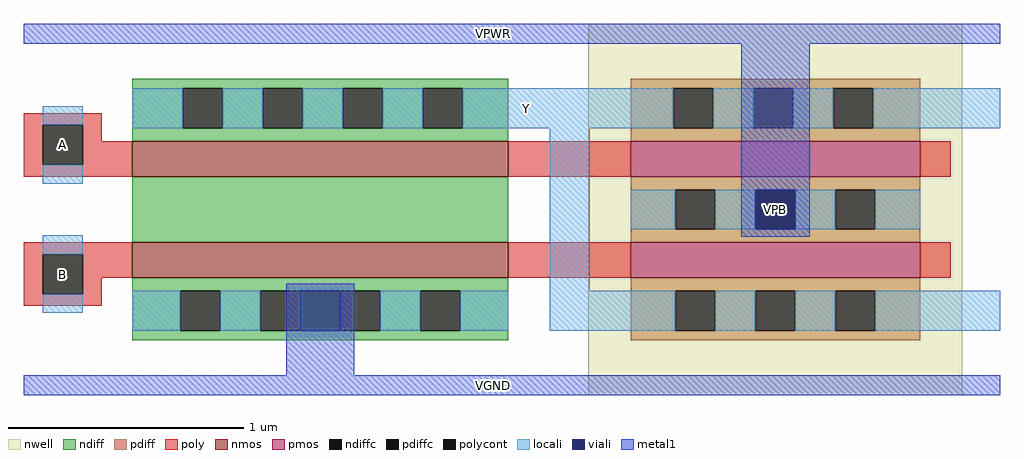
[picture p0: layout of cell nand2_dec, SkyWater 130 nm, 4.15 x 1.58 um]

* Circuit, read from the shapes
.subckt nand2_dec A B VGND VPB VPWR Y
XM1 n1 B VGND VSUBS sky130_fd_pr__nfet_01v8 w=1.6 l=0.15
XM2 Y A n1 VSUBS sky130_fd_pr__nfet_01v8 w=1.6 l=0.15
XM3 VPWR B Y VPB sky130_fd_pr__pfet_01v8 w=1.23 l=0.15
XM4 Y A VPWR VPB sky130_fd_pr__pfet_01v8 w=1.23 l=0.15
.ends

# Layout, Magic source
magic
tech sky130A
magscale 1 2
<< nwell >>
rect 228 0 546 316
<< nmos >>
rect -160 186 160 216
rect -160 100 160 130
<< pmos >>
rect 264 186 510 216
rect 264 100 510 130
<< ndiff >>
rect -160 261 160 269
rect -160 227 -117 261
rect -83 227 -49 261
rect -15 227 19 261
rect 53 227 87 261
rect 121 227 160 261
rect -160 216 160 227
rect -160 130 160 186
rect -160 89 160 100
rect -160 55 -119 89
rect -85 55 -51 89
rect -17 55 17 89
rect 51 55 85 89
rect 119 55 160 89
rect -160 47 160 55
<< pdiff >>
rect 264 261 510 269
rect 264 227 300 261
rect 334 227 368 261
rect 402 227 436 261
rect 470 227 510 261
rect 264 216 510 227
rect 264 175 510 186
rect 264 141 302 175
rect 336 141 370 175
rect 404 141 438 175
rect 472 141 510 175
rect 264 130 510 141
rect 264 89 510 100
rect 264 55 302 89
rect 336 55 370 89
rect 404 55 438 89
rect 472 55 510 89
rect 264 47 510 55
<< ndiffc >>
rect -117 227 -83 261
rect -49 227 -15 261
rect 19 227 53 261
rect 87 227 121 261
rect -119 55 -85 89
rect -51 55 -17 89
rect 17 55 51 89
rect 85 55 119 89
<< pdiffc >>
rect 300 227 334 261
rect 368 227 402 261
rect 436 227 470 261
rect 302 141 336 175
rect 370 141 404 175
rect 438 141 472 175
rect 302 55 336 89
rect 370 55 404 89
rect 438 55 472 89
<< poly >>
rect -252 230 -186 240
rect -252 196 -236 230
rect -202 216 -186 230
rect -202 196 -160 216
rect -252 186 -160 196
rect 160 186 264 216
rect 510 186 536 216
rect -252 120 -160 130
rect -252 86 -236 120
rect -202 100 -160 120
rect 160 100 264 130
rect 510 100 536 130
rect -202 86 -186 100
rect -252 76 -186 86
<< polycont >>
rect -236 196 -202 230
rect -236 86 -202 120
<< locali >>
rect -236 230 -202 246
rect -160 227 -117 261
rect -83 227 -49 261
rect -15 227 19 261
rect 53 227 87 261
rect 121 227 300 261
rect 334 227 368 261
rect 402 227 436 261
rect 470 227 578 261
rect -236 180 -202 196
rect -236 120 -202 136
rect 195 89 229 227
rect 264 141 302 175
rect 336 141 370 175
rect 404 141 438 175
rect 472 141 510 175
rect -236 70 -202 86
rect -160 55 -119 89
rect -85 55 -51 89
rect 51 55 85 89
rect 119 55 160 89
rect 195 55 302 89
rect 336 55 370 89
rect 404 55 438 89
rect 472 55 578 89
<< viali >>
rect 370 141 404 175
rect -17 55 17 89
<< metal1 >>
rect -252 299 578 316
rect 358 175 416 299
rect 358 141 370 175
rect 404 141 416 175
rect 358 135 416 141
rect -29 89 29 95
rect -29 55 -17 89
rect 17 55 29 89
rect -29 17 29 55
rect -252 0 578 17
<< labels >>
rlabel nwell 228 0 546 316 3 VPB
port 3 e
rlabel locali -236 70 -202 136 7 B
port 1 w
rlabel locali -236 180 -202 246 7 A
port 0 w
rlabel locali -160 227 510 261 3 Y
port 5 e
rlabel metal1 -252 299 546 316 1 VPWR
port 4 n
rlabel metal1 -252 0 546 17 5 VGND
port 2 s
<< end >>
